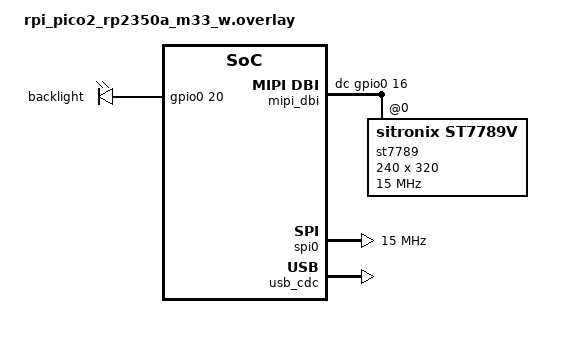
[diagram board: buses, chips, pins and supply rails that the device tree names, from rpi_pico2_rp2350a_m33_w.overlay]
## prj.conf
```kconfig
# NOTE: must fit 320x240x2   wait 153600?
#
CONFIG_GPIO=y
CONFIG_PWM=y
CONFIG_SPI=y
CONFIG_HEAP_MEM_POOL_SIZE=65536
CONFIG_MAIN_STACK_SIZE=4096

CONFIG_LOG=y
CONFIG_DISPLAY=y
CONFIG_ST7789V=y
CONFIG_MIPI_DBI=y
CONFIG_MIPI_DBI_SPI=y

CONFIG_USB_DEVICE_STACK_NEXT=y
CONFIG_USB_DEVICE_PRODUCT="Zephyr Weather Station"
CONFIG_USB_CDC_ACM=y
CONFIG_USB_DEVICE_INITIALIZE_AT_BOOT=y
CONFIG_CONSOLE=y
CONFIG_SERIAL=y
```

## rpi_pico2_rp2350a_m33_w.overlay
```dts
/ {
    chosen {
        zephyr,display = &st7789;
        zephyr,console = &usb_cdc;
    };

    aliases {
        backlight = &backlight;
    };

    leds {
        // TODO: RGB are GP26-28, BL is GP20
        compatible = "gpio-leds";
        // label: node name
        backlight: backlight-led {
            gpios = <&gpio0 20 GPIO_ACTIVE_HIGH>;
        };
    };

    pwmleds {
        compatible = "pwm-leds";
    };

    mipi_dbi {
        compatible      = "zephyr,mipi-dbi-spi";
        spi-dev         = <&spi0>;
        dc-gpios        = <&gpio0 16 GPIO_ACTIVE_HIGH>;
        //te-gpios        = <&gpio0 21>;
        write-only;
        #address-cells  = <1>;
        #size-cells     = <0>;

        st7789: st7789@0 {
            compatible          = "sitronix,st7789v";
            mipi-max-frequency  = <15000000>;
            reg                 = <0>;      // Uses cs-gpios[0]
            // https://shop.pimoroni.com/products/pico-display-pack-2-8?variant=42047194005587
            // https://cdn.shopify.com/s/files/1/0174/1800/files/pico_display_2_8_schematic.pdf?v=1728314048
            // https://docs.zephyrproject.org/latest/build/dts/api/bindings/display/sitronix%2Cst7789v.html
            // https://github.com/pimoroni/pimoroni-pico/blob/main/drivers/st7789/st7789.cpp
            // https://github.com/zephyrproject-rtos/zephyr/blob/9da1b3cba1a2a8a448c8650fb30b38b570a9b9de/boards/fanke/fk750m1_vbt6/fk750m1_vbt6.dts#L23
            x-offset    = <0>;
            y-offset    = <0>;
            width       = <240>;
            height      = <320>;
            gctrl       = <0x35>; // Gate control
            vcom        = <0x1f>; // VCOM Setting
            pvgam-param = [D0 08 11 08 0C 15 39 33 50 36 13 14 29 2D];
            nvgam-param = [D0 08 10 08 06 06 39 44 51 0B 16 14 2F 31];
            // TODO: te-on -> likely not supported by driver
            colmod      = <5>; // 16bpp hicolor

            porch-param = [0c 0c 00 33 33];
            lcm         = <0x2c>;
            // vdvvrhen 0x01 - maybe set by driver?
            vrhs = <0x12>;
            vdvs = <0x20>;
            pwctrl1-param = [a4 a1];
            // these commands are copied from random 240x240 board
            mdac = <0x00>;
            gamma = <0x01>;
            cmd2en-param = [5a 69 02 01];
            ram-param = [00 F0]; // seen also f8
            rgb-param = [CD 08 14];
            mipi-mode = "MIPI_DBI_MODE_SPI_4WIRE";

            // Rotation is not supported by driver
            //rotation            = <90>;     // Default, portait 240x320, 90 landscape ...
            status              = "okay";
        };

    };
};

&spi0 {
    status          = "okay";
    clock-frequency = <15000000>;
    // Note: multiple devices can have CS pins configured here, separated by ","
    // They are referenced via reg=<n>;
    cs-gpios        = <&gpio0 17 GPIO_ACTIVE_LOW>;
};

&zephyr_udc0 {
    usb_cdc: usb_cdc_0 {
        compatible = "zephyr,cdc-acm-uart";
    };
};
```

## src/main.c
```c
#include <zephyr/kernel.h>
#include <zephyr/device.h>
#include <zephyr/drivers/display.h>
#include <zephyr/logging/log.h>
#include <zephyr/drivers/gpio.h>

#define TILE_WIDTH  32
#define TILE_HEIGHT 32

LOG_MODULE_REGISTER(main, LOG_LEVEL_INF);

static void test_display(const struct device *display) {
    struct display_buffer_descriptor desc = {
        .width  = TILE_WIDTH,
        .height = TILE_HEIGHT,
        .pitch  = TILE_WIDTH,
    };

    // colors are 0xRRRR RGGG GGGB BBBB = 0x07e0 but there is endianity
    // so green is not 0x07e0, but 0xe007
    static uint16_t buf[TILE_WIDTH * TILE_HEIGHT];
    uint16_t colors[] = {
        0x00f8, // red
        0xe007, // green
        0x1f00, // blue
        0xffff, // white
        0x0000, // black
    };

    for (int i = 0; i < sizeof(colors)/sizeof(uint16_t); ++i) {
        // Fill buffer with color
        for (int j = 0; j < TILE_WIDTH * TILE_HEIGHT; ++j) {
            buf[j] = colors[i];
        }

        display_write(display, i * TILE_WIDTH, 0, &desc, buf);
    }
}

int main(void) {
    LOG_INF("Starting ILI9341 framebuffer test.");

    /* Get display device */
    const struct device *display_dev;
    display_dev = DEVICE_DT_GET(DT_CHOSEN(zephyr_display));
    if (!device_is_ready(display_dev)) {
        LOG_ERR("Display device not ready");
        return -1;
    }    
    const struct gpio_dt_spec backlight_led = GPIO_DT_SPEC_GET(DT_ALIAS(backlight), gpios);
    if (!gpio_is_ready_dt(&backlight_led)) {
        LOG_ERR("LED GPIO not ready.");
        return -1;
    }
    gpio_pin_configure_dt(&backlight_led, GPIO_OUTPUT_ACTIVE);
    gpio_pin_set_dt(&backlight_led, 1);


    test_display(display_dev);

    display_blanking_off(display_dev);

    LOG_INF("Done.");
    return 0;
}
```
